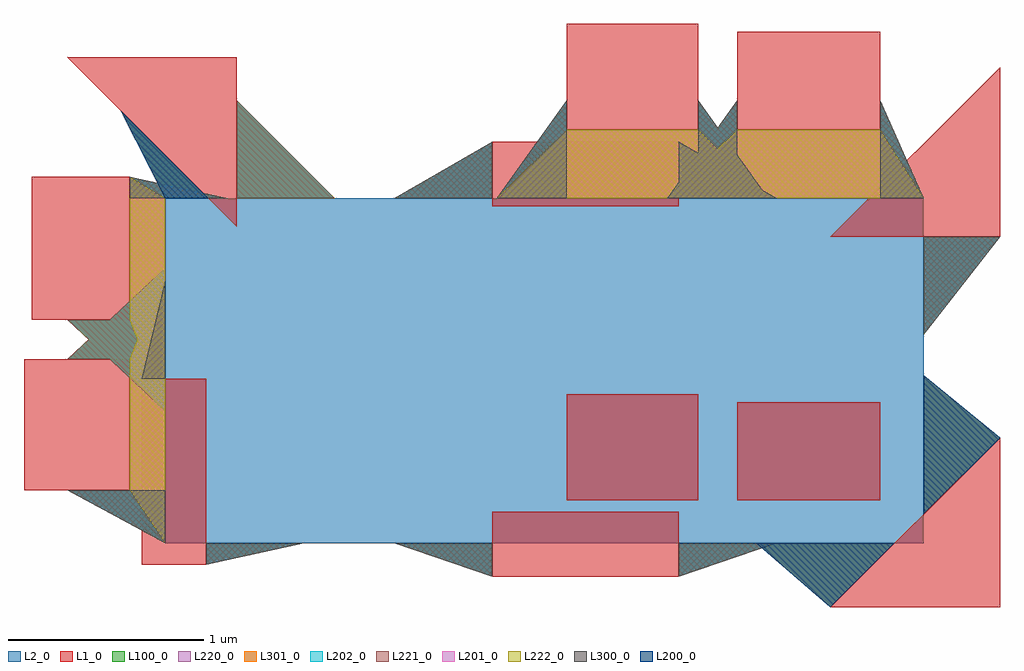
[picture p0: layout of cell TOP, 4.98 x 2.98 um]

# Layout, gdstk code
import gdstk
lib = gdstk.Library(unit=1e-6, precision=1e-09)
def R(c, l, rs):  # rectangles x0, y0, x1, y1
    for r in rs: c.add(gdstk.rectangle(r[:2], r[2:], *l))
def P(c, l, *ps):  # polygons
    for p in ps: c.add(gdstk.Polygon(p, *l))
L1_0 = (1, 0)
L2_0 = (2, 0)
L100_0 = (100, 0)
L200_0 = (200, 0)
L201_0 = (201, 0)
L202_0 = (202, 0)
L220_0 = (220, 0)
L221_0 = (221, 0)
L222_0 = (222, 0)
L300_0 = (300, 0)
L301_0 = (301, 0)

top = lib.new_cell('TOP')
R(top, L1_0, [(-1.47,0.58,-0.52,0.91), (-3.26,0.64,-2.93,1.59), (-1.09,0.97,-0.42,1.51), (-0.22,0.97,0.51,1.47), (-3.86,1.02,-3.32,1.69), (-3.82,1.89,-3.32,2.62), (-1.47,2.47,-0.52,2.8), (-1.09,2.86,-0.42,3.4), (-0.22,2.86,0.51,3.36)])
P(top, L1_0, [(0.255,0.425),(1.12,1.29),(1.12,0.425)],
  [(-2.775,2.365),(-3.64,3.23),(-2.775,3.23)],
  [(0.255,2.315),(1.12,3.18),(1.12,2.315)])
R(top, L2_0, [(-3.14,0.75,0.73,2.51)])
P(top, L100_0, [(0.255,0.425),(-0.125,0.75),(0.58,0.75)],
  [(-2.93,0.64),(-2.93,0.75),(-2.43,0.75)],
  [(-3.26,1.59),(-3.14,2.09),(-3.14,1.59)],
  [(0.73,0.9),(0.73,1.607),(1.12,1.29)],
  [(-3.14,0.75),(-3.64,1.02),(-3.14,1.02)],
  [(-3.14,0.75),(-3.32,1.02),(-3.32,1.69),(-3.14,2.156)],
  [(-3.64,1.69),(-3.14,2.156),(-3.14,1.69)],
  [(-3.14,1.424),(-3.64,1.89),(-3.14,1.89)],
  [(-3.32,2.51),(-3.32,2.62),(-2.82,2.51)],
  [(-3.14,1.424),(-3.32,1.89),(-3.32,2.62),(-3.14,2.51)],
  [(-0.52,0.58),(-0.52,0.75),(-0.02,0.75)],
  [(-1.447,2.51),(-1.09,3.01),(-1.09,2.51)],
  [(-0.42,2.51),(-0.42,3.01),(-0.063,2.51)],
  [(-1.47,0.58),(-1.97,0.75),(-1.47,0.75)],
  [(-1.447,2.51),(-1.09,2.86),(-0.42,2.86),(-0.063,2.51)],
  [(-0.577,2.51),(-0.22,3.01),(-0.22,2.51)],
  [(0.51,2.51),(0.51,3.01),(0.73,2.51)],
  [(-3.14,2.51),(-3.366,2.956),(-2.92,2.51)],
  [(-0.577,2.51),(-0.22,2.86),(0.51,2.86),(0.73,2.51)],
  [(-2.775,2.51),(-2.775,3.01),(-2.275,2.51)],
  [(0.73,1.815),(0.73,2.315),(1.12,2.315)],
  [(-0.52,2.51),(-0.52,2.8),(-0.02,2.51)],
  [(-1.97,2.51),(-1.47,2.8),(-1.47,2.51)])
P(top, L200_0, [(0.255,0.425),(-0.125,0.75),(0.58,0.75)],
  [(0.73,0.9),(0.73,1.607),(1.12,1.29)],
  [(-3.14,2.51),(-3.366,2.956),(-2.92,2.51)])
P(top, L201_0, [(-3.14,0.75),(-3.32,1.02),(-3.32,1.69),(-3.14,2.156)],
  [(-3.14,1.424),(-3.32,1.89),(-3.32,2.62),(-3.14,2.51)],
  [(-1.447,2.51),(-1.09,2.86),(-0.42,2.86),(-0.063,2.51)],
  [(-0.577,2.51),(-0.22,2.86),(0.51,2.86),(0.73,2.51)])
P(top, L202_0, [(0.255,0.425),(-0.125,0.75),(0.58,0.75)],
  [(-2.93,0.64),(-2.93,0.75),(-2.43,0.75)],
  [(-3.26,1.59),(-3.14,2.09),(-3.14,1.59)],
  [(0.73,0.9),(0.73,1.607),(1.12,1.29)],
  [(-3.14,0.75),(-3.64,1.02),(-3.14,1.02)],
  [(-3.64,1.69),(-3.14,2.156),(-3.14,1.69)],
  [(-3.14,1.424),(-3.64,1.89),(-3.14,1.89)],
  [(-3.32,2.51),(-3.32,2.62),(-2.82,2.51)],
  [(-0.52,0.58),(-0.52,0.75),(-0.02,0.75)],
  [(-1.447,2.51),(-1.09,3.01),(-1.09,2.51)],
  [(-0.42,2.51),(-0.42,3.01),(-0.063,2.51)],
  [(-1.47,0.58),(-1.97,0.75),(-1.47,0.75)],
  [(-0.577,2.51),(-0.22,3.01),(-0.22,2.51)],
  [(0.51,2.51),(0.51,3.01),(0.73,2.51)],
  [(-3.14,2.51),(-3.366,2.956),(-2.92,2.51)],
  [(-2.775,2.51),(-2.775,3.01),(-2.275,2.51)],
  [(0.73,1.815),(0.73,2.315),(1.12,2.315)],
  [(-0.52,2.51),(-0.52,2.8),(-0.02,2.51)],
  [(-1.97,2.51),(-1.47,2.8),(-1.47,2.51)])
P(top, L220_0, [(-2.93,0.64),(-2.93,0.75),(-2.43,0.75)],
  [(-3.26,1.59),(-3.14,2.09),(-3.14,1.59)],
  [(-3.14,0.75),(-3.64,1.02),(-3.14,1.02)],
  [(-3.14,0.75),(-3.32,1.02),(-3.32,1.69),(-3.14,2.156)],
  [(-3.64,1.69),(-3.14,2.156),(-3.14,1.69)],
  [(-3.14,1.424),(-3.64,1.89),(-3.14,1.89)],
  [(-3.32,2.51),(-3.32,2.62),(-2.82,2.51)],
  [(-3.14,1.424),(-3.32,1.89),(-3.32,2.62),(-3.14,2.51)],
  [(-0.52,0.58),(-0.52,0.75),(-0.02,0.75)],
  [(-1.447,2.51),(-1.09,3.01),(-1.09,2.51)],
  [(-0.42,2.51),(-0.42,3.01),(-0.063,2.51)],
  [(-1.47,0.58),(-1.97,0.75),(-1.47,0.75)],
  [(-1.447,2.51),(-1.09,2.86),(-0.42,2.86),(-0.063,2.51)],
  [(-0.577,2.51),(-0.22,3.01),(-0.22,2.51)],
  [(0.51,2.51),(0.51,3.01),(0.73,2.51)],
  [(-0.577,2.51),(-0.22,2.86),(0.51,2.86),(0.73,2.51)],
  [(-2.775,2.51),(-2.775,3.01),(-2.275,2.51)],
  [(0.73,1.815),(0.73,2.315),(1.12,2.315)],
  [(-0.52,2.51),(-0.52,2.8),(-0.02,2.51)],
  [(-1.97,2.51),(-1.47,2.8),(-1.47,2.51)])
P(top, L221_0, [(0.255,0.425),(-0.125,0.75),(0.58,0.75)],
  [(-2.93,0.64),(-2.93,0.75),(-2.43,0.75)],
  [(-3.26,1.59),(-3.14,2.09),(-3.14,1.59)],
  [(0.73,0.9),(0.73,1.607),(1.12,1.29)],
  [(-3.14,0.75),(-3.64,1.02),(-3.14,1.02)],
  [(-3.64,1.69),(-3.14,2.156),(-3.14,1.69)],
  [(-3.14,1.424),(-3.64,1.89),(-3.14,1.89)],
  [(-3.32,2.51),(-3.32,2.62),(-2.82,2.51)],
  [(-0.52,0.58),(-0.52,0.75),(-0.02,0.75)],
  [(-1.447,2.51),(-1.09,3.01),(-1.09,2.51)],
  [(-0.42,2.51),(-0.42,3.01),(-0.063,2.51)],
  [(-1.47,0.58),(-1.97,0.75),(-1.47,0.75)],
  [(-0.577,2.51),(-0.22,3.01),(-0.22,2.51)],
  [(0.51,2.51),(0.51,3.01),(0.73,2.51)],
  [(-3.14,2.51),(-3.366,2.956),(-2.92,2.51)],
  [(-2.775,2.51),(-2.775,3.01),(-2.275,2.51)],
  [(0.73,1.815),(0.73,2.315),(1.12,2.315)],
  [(-0.52,2.51),(-0.52,2.8),(-0.02,2.51)],
  [(-1.97,2.51),(-1.47,2.8),(-1.47,2.51)])
P(top, L222_0, [(-3.14,0.75),(-3.32,1.02),(-3.32,1.69),(-3.14,2.156)],
  [(-3.14,1.424),(-3.32,1.89),(-3.32,2.62),(-3.14,2.51)],
  [(-1.447,2.51),(-1.09,2.86),(-0.42,2.86),(-0.063,2.51)],
  [(-0.577,2.51),(-0.22,2.86),(0.51,2.86),(0.73,2.51)])
P(top, L300_0, [(-2.93,0.64),(-2.93,0.75),(-2.43,0.75)],
  [(-3.26,1.59),(-3.14,2.09),(-3.14,1.59)],
  [(-3.14,0.75),(-3.64,1.02),(-3.14,1.02)],
  [(-3.32,2.51),(-3.32,2.62),(-2.82,2.51)],
  [(-0.52,0.58),(-0.52,0.75),(-0.02,0.75)],
  [(-1.447,2.51),(-1.09,3.01),(-1.09,2.51)],
  [(-0.42,2.51),(-0.42,3.01),(-0.063,2.51)],
  [(-1.47,0.58),(-1.97,0.75),(-1.47,0.75)],
  [(-0.577,2.51),(-0.22,3.01),(-0.22,2.51)],
  [(0.51,2.51),(0.51,3.01),(0.73,2.51)],
  [(-3.14,2.51),(-3.366,2.956),(-2.92,2.51)],
  [(0.73,1.815),(0.73,2.315),(1.12,2.315)],
  [(-0.52,2.51),(-0.52,2.8),(-0.02,2.51)],
  [(-1.97,2.51),(-1.47,2.8),(-1.47,2.51)])
P(top, L301_0, [(0.255,0.425),(-0.125,0.75),(0.58,0.75)],
  [(0.73,0.9),(0.73,1.607),(1.12,1.29)],
  [(-3.14,0.75),(-3.32,1.02),(-3.32,1.69),(-3.14,2.156)],
  [(-3.64,1.69),(-3.14,2.156),(-3.14,1.69)],
  [(-3.14,1.424),(-3.64,1.89),(-3.14,1.89)],
  [(-3.14,1.424),(-3.32,1.89),(-3.32,2.62),(-3.14,2.51)],
  [(-1.447,2.51),(-1.09,2.86),(-0.42,2.86),(-0.063,2.51)],
  [(-0.577,2.51),(-0.22,2.86),(0.51,2.86),(0.73,2.51)],
  [(-2.775,2.51),(-2.775,3.01),(-2.275,2.51)])

lib.write_gds('TOP.gds')
